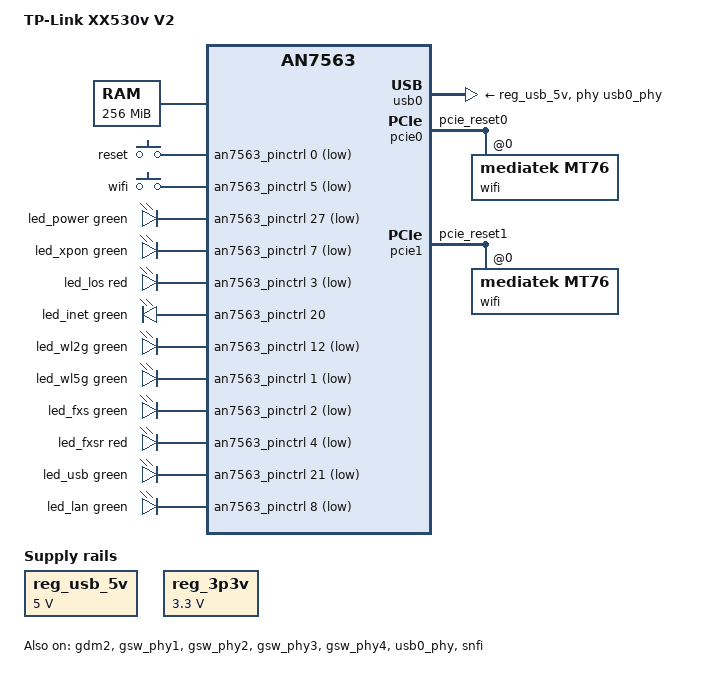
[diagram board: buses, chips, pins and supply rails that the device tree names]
// SPDX-License-Identifier: (GPL-2.0-only OR BSD-2-Clause)
/dts-v1/;

/*
 * TP-Link XX530v V2 (hw id "XX530vV2", vendor platform "JEDI"):
 * Airoha AN7552CT (the xPON package of the AN7563 die), 2x Cortex-A53 in
 * AArch32, 256 MiB PCDDR3, 128 MiB SPI-NAND (ESMT F50L1G41LB) with the
 * EcoNet BMT, GPON with an EN7571 laser driver, 4-port internal switch,
 * MT7916 (DBDC) on both PCIe links.
 *
 * The stock Econet U-Boot 2014.04 is kept and boots this board on its own.
 * Its default bootcmd is
 *
 *     bootcmd=flash tpimg;bootm 81800200
 *
 * "flash tpimg" reads the 512-byte TP-Link image tag from MTD_OFS_KERNEL
 * (0x620000), takes kernelLen from offset 0x78 of it and reloads
 * tag + kernelLen bytes to CONFIG_SYS_LOAD_ADDR (0x81800000), so the FIT
 * lands at 0x81800200 where "bootm" finds it.  The kernel is decompressed
 * to 0x80088000.
 *
 * Consequently the "kernel" partition below must hold the tagged FIT as raw
 * bytes - no UBI there - and the rootfs goes into the UBI partition that
 * follows.  See the partition table at the bottom of this file.
 */

/* ATF / BL31 resident area set up by the bootloader */
/memreserve/ 0x80000000 0x88000;

#include <dt-bindings/leds/common.h>
#include <dt-bindings/gpio/gpio.h>
#include <dt-bindings/input/input.h>
#include "an7563.dtsi"

/ {
	model = "TP-Link XX530v V2";
	compatible = "tplink,xx530v-v2", "airoha,an7552", "airoha,an7563";

	aliases {
		serial0 = &uart1;
		led-boot = &led_power;
		led-failsafe = &led_power;
		led-running = &led_power;
		led-upgrade = &led_power;
		label-mac-device = &gdm1;
	};

	chosen {
		/*
		 * Inert on this board, but kept in sync with CONFIG_CMDLINE in
		 * target/linux/airoha/an7563/config-6.18 so the intended
		 * command line is documented in one place too.  The stock
		 * bootloader overwrites this property unconditionally:
		 * image_setup_libfdt() calls fdt_chosen() with force=1
		 * (common/image-fdt.c:460), and fdt_chosen() then does
		 * fdt_setprop() with getenv("bootargs") because of the
		 * (path == NULL) || force test (common/fdt_support.c:265).
		 * CONFIG_CMDLINE_FORCE is what actually decides it.
		 */
		bootargs = "console=ttyS0,115200n8 root=/dev/ubiblock0_0 rootfstype=squashfs";

		/*
		 * This one is ours.  The bootloader leaves /chosen alone when
		 * the bootargs env variable is unset (the tftpboot/loady path),
		 * and earlycon without an explicit port resolves the console
		 * through of_chosen_stdout(), which reads exactly this.
		 */
		stdout-path = "serial0:115200n8";
	};

	memory@80000000 {
		device_type = "memory";
		reg = <0x80000000 0x10000000>;
	};

	/*
	 * xhci-mtk asks for "vbus" and "vusb33" and falls back to a dummy
	 * regulator for both.  The stock firmware has no USB power GPIO
	 * (led.conf and the stock DTB list none), so both rails are taken
	 * as always on: the 5 V VBUS of the port and the 3.3 V of the xHCI
	 * PHY.  If a GPIO switches VBUS on the board, put it on reg_usb_5v.
	 */
	reg_usb_5v: regulator-usb-5v {
		compatible = "regulator-fixed";
		regulator-name = "usb-vbus-5v";
		regulator-min-microvolt = <5000000>;
		regulator-max-microvolt = <5000000>;
		regulator-always-on;
		regulator-boot-on;
	};

	reg_3p3v: regulator-3p3v {
		compatible = "regulator-fixed";
		regulator-name = "fixed-3.3V";
		regulator-min-microvolt = <3300000>;
		regulator-max-microvolt = <3300000>;
		regulator-always-on;
		regulator-boot-on;
	};

	gpio-keys {
		compatible = "gpio-keys";

		reset {
			label = "reset";
			linux,code = <KEY_RESTART>;
			gpios = <&an7563_pinctrl 0 GPIO_ACTIVE_LOW>;
			debounce-interval = <100>;
		};

		wifi {
			label = "wifi";
			linux,code = <KEY_RFKILL>;
			gpios = <&an7563_pinctrl 5 GPIO_ACTIVE_LOW>;
			debounce-interval = <100>;
		};
	};

	gpio-leds {
		compatible = "gpio-leds";

		led_power: power {
			function = LED_FUNCTION_POWER;
			color = <LED_COLOR_ID_GREEN>;
			gpios = <&an7563_pinctrl 27 GPIO_ACTIVE_LOW>;
			default-state = "on";
		};

		led_xpon: xpon {
			color = <LED_COLOR_ID_GREEN>;
			function = "pon";
			gpios = <&an7563_pinctrl 7 GPIO_ACTIVE_LOW>;
		};

		led_los: los {
			color = <LED_COLOR_ID_RED>;
			function = "los";
			gpios = <&an7563_pinctrl 3 GPIO_ACTIVE_LOW>;
		};

		led_inet: inet {
			function = LED_FUNCTION_WAN_ONLINE;
			color = <LED_COLOR_ID_GREEN>;
			gpios = <&an7563_pinctrl 20 GPIO_ACTIVE_HIGH>;
		};

		led_wl2g: wl2g {
			function = LED_FUNCTION_WLAN_2GHZ;
			color = <LED_COLOR_ID_GREEN>;
			gpios = <&an7563_pinctrl 12 GPIO_ACTIVE_LOW>;
			linux,default-trigger = "phy0tpt";
		};

		led_wl5g: wl5g {
			function = LED_FUNCTION_WLAN_5GHZ;
			color = <LED_COLOR_ID_GREEN>;
			gpios = <&an7563_pinctrl 1 GPIO_ACTIVE_LOW>;
			linux,default-trigger = "phy1tpt";
		};

		led_fxs: fxs {
			color = <LED_COLOR_ID_GREEN>;
			function = "phone";
			gpios = <&an7563_pinctrl 2 GPIO_ACTIVE_LOW>;
		};

		led_fxsr: fxs-ring {
			color = <LED_COLOR_ID_RED>;
			function = "phone-ring";
			gpios = <&an7563_pinctrl 4 GPIO_ACTIVE_LOW>;
		};

		led_usb: usb {
			function = LED_FUNCTION_USB;
			color = <LED_COLOR_ID_GREEN>;
			gpios = <&an7563_pinctrl 21 GPIO_ACTIVE_LOW>;
		};

		led_lan: lan {
			function = LED_FUNCTION_LAN;
			color = <LED_COLOR_ID_GREEN>;
			gpios = <&an7563_pinctrl 8 GPIO_ACTIVE_LOW>;
		};
	};
};

&an7563_pinctrl {
	pcie0_rst_pins: pcie0-rst-pins {
		conf {
			pins = "pcie_reset0";
			drive-open-drain = <1>;
		};
	};

	pcie1_rst_pins: pcie1-rst-pins {
		conf {
			pins = "pcie_reset1";
			drive-open-drain = <1>;
		};
	};
};

&gdm1 {
	nvmem-cells = <&macaddr_lan 0>;
	nvmem-cell-names = "mac-address";
};

/*
 * GDM2 is the WAN port and is what makes airoha-eth touch QDMA1: the driver
 * picks &eth->qdma[1] for every non-LAN GDM device, so bringing this port
 * up starts the qdma1 rings, its four IRQ banks (SPI 38, 58, 59, 60) and the
 * GDM2 stats counters.
 *
 * This board is a GPON ONU: GDM2 feeds the on-chip xPON MAC, so there is no
 * PCS and no PHY behind it (phy-mode "internal", fixed-link; patch 925-04).
 *
 * The MAC cell is what keeps this netdev's address stable across boots.
 * Without it of_get_ethdev_address() finds nothing, the driver falls back to
 * eth_hw_addr_random() and every reboot logs a different "generated random
 * MAC address" line.  It is the &pon node's second cell (line below), and the
 * same one gdm1 takes: one factory address, shared, and nothing to conflict
 * over because neither address is ever sent - gdm1's goes to the frame engine
 * for the LAN ports and this one stays local, the datapath putting the GEM in
 * message header 0 so the OLT assigns what frames arrive with.  Only the low
 * bytes ever reach a register (airoha_set_macaddr() writes the MSBs to
 * REG_FE_WAN_MAC_H).
 */
&gdm2 {
	status = "okay";
	phy-mode = "internal";

	nvmem-cells = <&macaddr_lan 0>;
	nvmem-cell-names = "mac-address";

	fixed-link {
		speed = <2500>;
		full-duplex;
	};
};

&gsw_phy1 {
	status = "okay";
};

&gsw_phy2 {
	status = "okay";
};

&gsw_phy3 {
	status = "okay";
};

&gsw_phy4 {
	status = "okay";
};

&switch {
	ports {
		port@1 {
			label = "lan4";
			status = "okay";
		};

		port@2 {
			label = "lan3";
			status = "okay";
		};

		port@3 {
			label = "lan2";
			status = "okay";
		};

		port@4 {
			label = "lan1";
			status = "okay";
		};

	};
};

/*
 * The port is a 4 pin USB 2.0 socket (no SuperSpeed pairs; a USB 3.0 stick
 * links at 480 Mb/s on the stock unit too), so the USB3 side is left out:
 * its PHY is not listed, and the xHCI's only U3 port is disabled.
 */
&usb0 {
	phys = <&usb0_phy PHY_TYPE_USB2>;
	mediatek,u3p-dis-msk = <0x1>;
	vbus-supply = <&reg_usb_5v>;
	vusb33-supply = <&reg_3p3v>;
	status = "okay";
};

&usb0_phy {
	status = "okay";
};

&pcie0 {
	pinctrl-names = "default";
	pinctrl-0 = <&pcie0_rst_pins>;
	status = "okay";

	pcie@0,0 {
		reg = <0x0000 0 0 0 0>;
		device_type = "pci";
		#address-cells = <3>;
		#size-cells = <2>;
		ranges;

		wifi@0,0 {
			compatible = "mediatek,mt76";
			reg = <0x0000 0 0 0 0>;
			/*
			 * EEPROM is read by mt76 from tclinux + 0x420000
			 * (4 KiB).  No firmware-file fallback on purpose: if
			 * the cell cannot be read the failure has to be visible.
			 */
			nvmem-cells = <&eeprom_wifi>;
			nvmem-cell-names = "eeprom";
			#address-cells = <1>;
			#size-cells = <0>;

			/*
			 * MACs as on the stock unit: 2.4 GHz (ra0) the board
			 * MAC, 5 GHz (rai0) the board MAC + 2.  The EEPROM
			 * holds the generic 00:0c:43:26:60:18.
			 */
			band@0 {
				reg = <0>;
				nvmem-cells = <&macaddr_lan 0>;
				nvmem-cell-names = "mac-address";
			};

			band@1 {
				reg = <1>;
				nvmem-cells = <&macaddr_lan 2>;
				nvmem-cell-names = "mac-address";
			};
		};
	};
};

&pcie1 {
	pinctrl-names = "default";
	pinctrl-0 = <&pcie1_rst_pins>;
	status = "okay";

	pcie@0,0 {
		reg = <0x0000 0 0 0 0>;
		device_type = "pci";
		#address-cells = <3>;
		#size-cells = <2>;
		ranges;

		wifi@0,0 {
			compatible = "mediatek,mt76";
			reg = <0x0000 0 0 0 0>;
		};
	};
};

&snfi {
	status = "okay";
};

&spi_nand {
	/*
	 * The stock bootloader manages a reserve pool at the end of the chip
	 * (it logs "bmt pool size: 81") and refuses to come up if the kernel
	 * computes a different one, so the pool size is asserted rather than
	 * derived.
	 */
	econet,bmt;
	econet,bbt-table-size = <250>;
	econet,assert-reserve-size = <81>;

	partitions {
		compatible = "fixed-partitions";
		#address-cells = <1>;
		#size-cells = <1>;

		/*
		 * U-Boot 2014.04 with its environment at 0x7c000.  The
		 * bootloader owns this area; nothing may rewrite it from
		 * Linux, because that would drop the vendor environment and
		 * with it the "flash tpimg" boot path.
		 */
		partition@0 {
			label = "bootloader";
			reg = <0x00000000 0x00080000>;
			read-only;
		};

		/*
		 * 0x80000..0x420000 is not mapped at all: the stock DTB's
		 * table for it is stale and the area holds nothing this
		 * needs.  Leaving it out means it cannot be written by
		 * accident.
		 *
		 * MISC, read-only.  Every offset below is the one the vendor
		 * code and U-Boot use, unchanged:
		 *
		 *   0x000000  config        (vendor web settings)
		 *   0x080000  MT7916 EEPROM / radio calibration (4 KiB)
		 *   0x0c0000  EN7571 BOSA calibration record
		 *   0x04f100  LAN MAC           (OTHER_OFS_MAC)
		 *   0x04f110  flashId + device key (OTHER_OFS_OEMID)
		 *   0x04f1e0  label MAC, 0x04f1f0 its type word
		 *   0x04f500  serial number
		 *   0x0ef201 GPON serial number, 16 ASCII hex digits
		 *
		 * Read through nvmem from the kernel, so the MAC never has
		 * to be fetched from userspace (mtdblock on a raw NAND
		 * partition warns and bypasses the BMT mapping).
		 */
		partition@420000 {
			label = "oem";
			reg = <0x00420000 0x00200000>;
			read-only;

			nvmem-layout {
				compatible = "fixed-layout";
				#address-cells = <1>;
				#size-cells = <1>;

				bosa_calibration: bosa-calibration@c0000 {
					reg = <0xc0000 0xe0>;	/* flash 0x4e0000 */
				};

				macaddr_lan: macaddr@4f100 {
					compatible = "mac-base";
					reg = <0x4f100 0x6>;
					#nvmem-cell-cells = <1>;
				};

				gpon_serial: gpon-serial@ef201 {
					reg = <0xef201 0x10>;	/* flash 0x50f201 */
				};

				sn: sn@4f500 {
					reg = <0x4f500 0xd>;
				};

				eeprom_wifi: eeprom@80000 {
					reg = <0x80000 0x1000>;
				};
			};
		};

		/*
		 * MTD_OFS_KERNEL: the one address the bootloader hardcodes.
		 * "flash tpimg" reads the 512-byte TP-Link image tag here and
		 * reloads tag + kernelLen bytes, so this partition holds the
		 * tagged FIT and nothing else - no UBI, which would put an
		 * erase counter header where the bootloader expects the tag.
		 */
		partition@620000 {
			label = "kernel";
			reg = <0x00620000 0x01000000>;
		};

		/*
		 * Rootfs and overlay.  Starts at the erase block right after
		 * the kernel and runs up to the BBT/BMT reserve pool at
		 * 0x75e0000 (block 943 of 1024).
		 */
		partition@1620000 {
			label = "ubi";
			reg = <0x01620000 0x05fc0000>;
			compatible = "linux,ubi";
		};
	};
};
